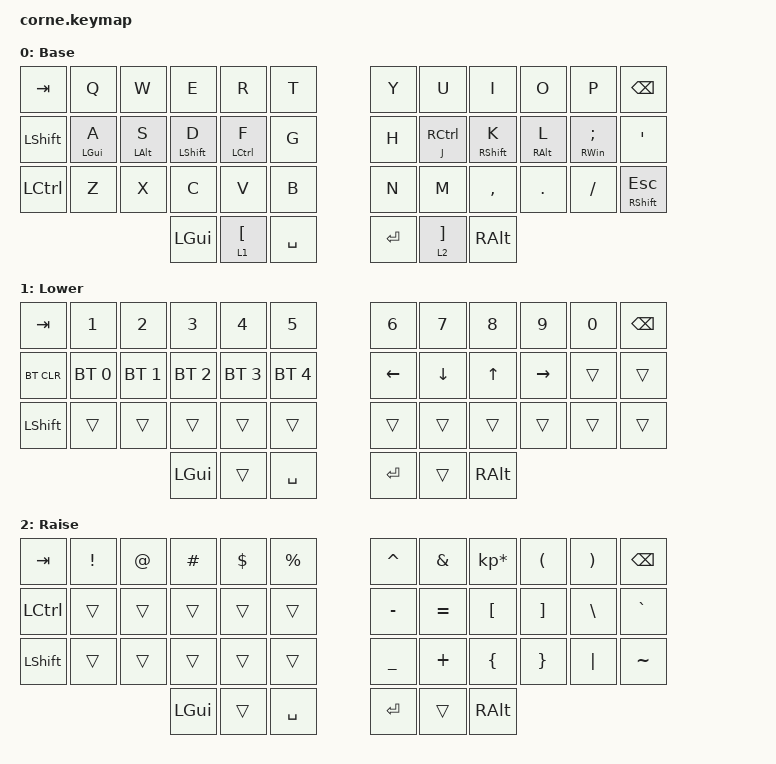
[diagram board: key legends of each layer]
/*
 * Copyright (c) 2020 The ZMK Contributors
 *
 * SPDX-License-Identifier: MIT
 */

#include <behaviors.dtsi>
#include <dt-bindings/zmk/bt.h>
#include <dt-bindings/zmk/keys.h>

/ {
    keymap {
        compatible = "zmk,keymap";

        default_layer {
            // -----------------------------------------------------------------------------------------
            // |  TAB |  Q  |  W  |  E  |  R  |  T  |   |  Y  |  U   |  I  |  O  |  P  | BKSP |
            // | CTRL |  A  |  S  |  D  |  F  |  G  |   |  H  |  J   |  K  |  L  |  ;  |  '   |
            // | SHFT |  Z  |  X  |  C  |  V  |  B  |   |  N  |  M   |  ,  |  .  |  /  | ESC  |
            //                    | GUI | LWR | SPC |   | ENT | RSE  | ALT |

            display-name = "Base";
            bindings = <
&kp TAB           &kp Q           &kp W           &kp E             &kp R               &kp T        &kp Y    &kp U                &kp I              &kp O            &kp P                    &kp BSPC
&kp LEFT_SHIFT    &mt LEFT_GUI A  &mt LEFT_ALT S  &mt LEFT_SHIFT D  &mt LEFT_CONTROL F  &kp G        &kp H    &mt J RIGHT_CONTROL  &mt RIGHT_SHIFT K  &mt RIGHT_ALT L  &mt RIGHT_WIN SEMICOLON  &kp SQT
&kp LEFT_CONTROL  &kp Z           &kp X           &kp C             &kp V               &kp B        &kp N    &kp M                &kp COMMA          &kp DOT          &kp FSLH                 &mt RIGHT_SHIFT ESCAPE
                                                  &kp LGUI          &lt 1 LEFT_BRACKET  &kp SPACE    &kp RET  &lt 2 RIGHT_BRACKET  &kp RALT
            >;
        };

        lower_layer {
            // -----------------------------------------------------------------------------------------
            // |  TAB |  1  |  2  |  3  |  4  |  5  |   |  6  |  7  |  8  |  9  |  0  | BKSP |
            // | BTCLR| BT1 | BT2 | BT3 | BT4 | BT5 |   | LFT | DWN |  UP | RGT |     |      |
            // | SHFT |     |     |     |     |     |   |     |     |     |     |     |      |
            //                    | GUI |     | SPC |   | ENT |     | ALT |

            display-name = "Lower";
            bindings = <
&kp TAB     &kp N1        &kp N2        &kp N3        &kp N4        &kp N5          &kp N6    &kp N7    &kp N8    &kp N9     &kp N0  &kp BSPC
&bt BT_CLR  &bt BT_SEL 0  &bt BT_SEL 1  &bt BT_SEL 2  &bt BT_SEL 3  &bt BT_SEL 4    &kp LEFT  &kp DOWN  &kp UP    &kp RIGHT  &trans  &trans
&kp LSHFT   &trans        &trans        &trans        &trans        &trans          &trans    &trans    &trans    &trans     &trans  &trans
                                        &kp LGUI      &trans        &kp SPACE       &kp RET   &trans    &kp RALT
            >;
        };

        raise_layer {
            // -----------------------------------------------------------------------------------------
            // |  TAB |  !  |  @  |  #  |  $  |  %  |   |  ^  |  &  |  *  |  (  |  )  | BKSP |
            // | CTRL |     |     |     |     |     |   |  -  |  =  |  [  |  ]  |  \  |  `   |
            // | SHFT |     |     |     |     |     |   |  _  |  +  |  {  |  }  | "|" |  ~   |
            //                    | GUI |     | SPC |   | ENT |     | ALT |

            display-name = "Raise";
            bindings = <
&kp TAB    &kp EXCL  &kp AT  &kp HASH  &kp DLLR  &kp PRCNT    &kp CARET  &kp AMPS   &kp KP_MULTIPLY  &kp LPAR  &kp RPAR  &kp BSPC
&kp LCTRL  &trans    &trans  &trans    &trans    &trans       &kp MINUS  &kp EQUAL  &kp LBKT         &kp RBKT  &kp BSLH  &kp GRAVE
&kp LSHFT  &trans    &trans  &trans    &trans    &trans       &kp UNDER  &kp PLUS   &kp LBRC         &kp RBRC  &kp PIPE  &kp TILDE
                             &kp LGUI  &trans    &kp SPACE    &kp RET    &trans     &kp RALT
            >;
        };

        extra_1 { status = "reserved"; };

        extra_2 { status = "reserved"; };

        extra_3 { status = "reserved"; };
    };
};
